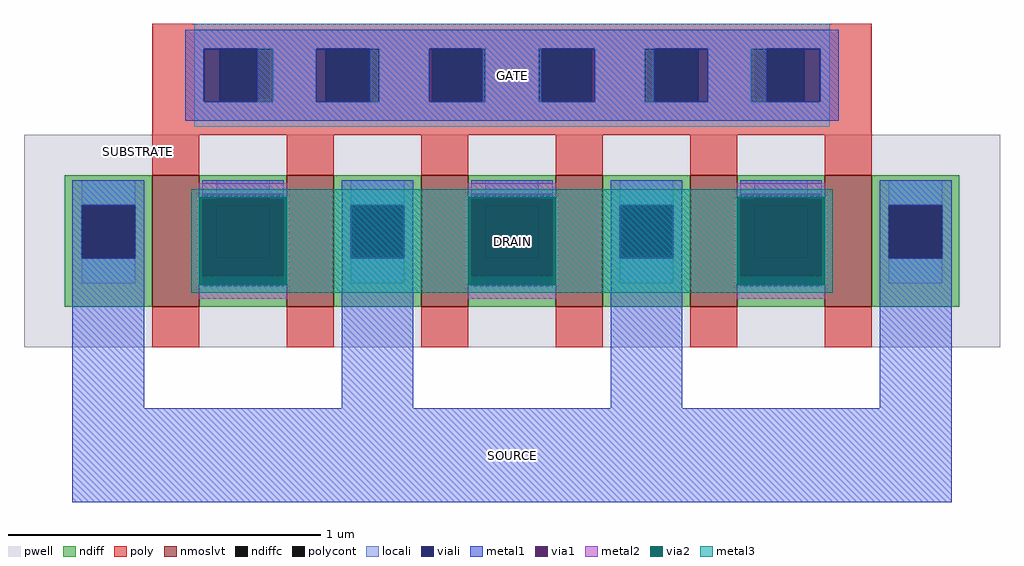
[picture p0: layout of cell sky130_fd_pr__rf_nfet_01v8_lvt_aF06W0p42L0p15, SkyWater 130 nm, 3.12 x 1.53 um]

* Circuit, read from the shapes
.subckt sky130_fd_pr__rf_nfet_01v8_lvt_aF06W0p42L0p15 DRAIN SOURCE GATE SUBSTRATE
XM1 DRAIN GATE SOURCE SUBSTRATE sky130_fd_pr__nfet_01v8_lvt w=0.42 l=0.15 m=6
.ends

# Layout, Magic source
magic
tech sky130A
magscale 1 2
<< pwell >>
rect 10 10 634 146
<< nmoslvt >>
rect 92 36 122 120
rect 178 36 208 120
rect 264 36 294 120
rect 350 36 380 120
rect 436 36 466 120
rect 522 36 552 120
<< ndiff >>
rect 36 101 92 120
rect 36 67 47 101
rect 81 67 92 101
rect 36 36 92 67
rect 122 101 178 120
rect 122 67 133 101
rect 167 67 178 101
rect 122 36 178 67
rect 208 101 264 120
rect 208 67 219 101
rect 253 67 264 101
rect 208 36 264 67
rect 294 101 350 120
rect 294 67 305 101
rect 339 67 350 101
rect 294 36 350 67
rect 380 101 436 120
rect 380 67 391 101
rect 425 67 436 101
rect 380 36 436 67
rect 466 101 522 120
rect 466 67 477 101
rect 511 67 522 101
rect 466 36 522 67
rect 552 101 608 120
rect 552 67 563 101
rect 597 67 608 101
rect 552 36 608 67
<< ndiffc >>
rect 47 67 81 101
rect 133 67 167 101
rect 219 67 253 101
rect 305 67 339 101
rect 391 67 425 101
rect 477 67 511 101
rect 563 67 597 101
<< poly >>
rect 92 201 552 217
rect 92 167 135 201
rect 169 167 203 201
rect 237 167 271 201
rect 305 167 339 201
rect 373 167 407 201
rect 441 167 475 201
rect 509 167 552 201
rect 92 146 552 167
rect 92 120 122 146
rect 178 120 208 146
rect 264 120 294 146
rect 350 120 380 146
rect 436 120 466 146
rect 522 120 552 146
rect 92 10 122 36
rect 178 10 208 36
rect 264 10 294 36
rect 350 10 380 36
rect 436 10 466 36
rect 522 10 552 36
<< polycont >>
rect 135 167 169 201
rect 203 167 237 201
rect 271 167 305 201
rect 339 167 373 201
rect 407 167 441 201
rect 475 167 509 201
<< locali >>
rect 119 201 525 217
rect 119 167 125 201
rect 169 167 197 201
rect 237 167 269 201
rect 305 167 339 201
rect 375 167 407 201
rect 447 167 475 201
rect 519 167 525 201
rect 119 151 525 167
rect 47 101 81 117
rect 47 51 81 67
rect 133 101 167 117
rect 133 51 167 67
rect 219 101 253 117
rect 219 51 253 67
rect 305 101 339 117
rect 305 51 339 67
rect 391 101 425 117
rect 391 51 425 67
rect 477 101 511 117
rect 477 51 511 67
rect 563 101 597 117
rect 563 51 597 67
<< viali >>
rect 125 167 135 201
rect 135 167 159 201
rect 197 167 203 201
rect 203 167 231 201
rect 269 167 271 201
rect 271 167 303 201
rect 341 167 373 201
rect 373 167 375 201
rect 413 167 441 201
rect 441 167 447 201
rect 485 167 509 201
rect 509 167 519 201
rect 47 67 81 101
rect 133 67 167 101
rect 219 67 253 101
rect 305 67 339 101
rect 391 67 425 101
rect 477 67 511 101
rect 563 67 597 101
<< metal1 >>
rect 113 201 531 213
rect 113 167 125 201
rect 159 167 197 201
rect 231 167 269 201
rect 303 167 341 201
rect 375 167 413 201
rect 447 167 485 201
rect 519 167 531 201
rect 113 155 531 167
rect 41 101 87 117
rect 41 67 47 101
rect 81 67 87 101
rect 41 -29 87 67
rect 124 108 176 117
rect 124 49 176 56
rect 213 101 259 117
rect 213 67 219 101
rect 253 67 259 101
rect 213 -29 259 67
rect 296 108 348 117
rect 296 49 348 56
rect 385 101 431 117
rect 385 67 391 101
rect 425 67 431 101
rect 385 -29 431 67
rect 468 108 520 117
rect 468 49 520 56
rect 557 101 603 117
rect 557 67 563 101
rect 597 67 603 101
rect 557 -29 603 67
rect 41 -89 603 -29
<< via1 >>
rect 124 101 176 108
rect 124 67 133 101
rect 133 67 167 101
rect 167 67 176 101
rect 124 56 176 67
rect 296 101 348 108
rect 296 67 305 101
rect 305 67 339 101
rect 339 67 348 101
rect 296 56 348 67
rect 468 101 520 108
rect 468 67 477 101
rect 477 67 511 101
rect 511 67 520 101
rect 468 56 520 67
<< metal2 >>
rect 122 108 178 115
rect 122 106 124 108
rect 176 106 178 108
rect 122 41 178 50
rect 294 108 350 115
rect 294 106 296 108
rect 348 106 350 108
rect 294 41 350 50
rect 466 108 522 115
rect 466 106 468 108
rect 520 106 522 108
rect 466 41 522 50
<< via2 >>
rect 122 56 124 106
rect 124 56 176 106
rect 176 56 178 106
rect 122 50 178 56
rect 294 56 296 106
rect 296 56 348 106
rect 348 56 350 106
rect 294 50 350 56
rect 466 56 468 106
rect 468 56 520 106
rect 520 56 522 106
rect 466 50 522 56
<< metal3 >>
rect 117 106 527 111
rect 117 50 122 106
rect 178 50 294 106
rect 350 50 466 106
rect 522 50 527 106
rect 117 45 527 50
<< labels >>
flabel metal3 s 117 45 527 111 0 FreeSans 400 0 0 0 DRAIN
port 1 nsew
flabel metal1 s 41 -89 603 -29 0 FreeSans 400 0 0 0 SOURCE
port 2 nsew
flabel metal1 s 113 155 531 213 0 FreeSans 400 0 0 0 GATE
port 3 nsew
flabel pwell s 77 128 90 142 0 FreeSans 200 0 0 0 SUBSTRATE
port 4 nsew
<< properties >>
string GDS_FILE $PDKPATH/libs.ref/sky130_fd_pr/gds/sky130_fd_pr.gds
string GDS_END 5837486
string GDS_START 5829872
string path 1.600 2.925 1.600 -2.225 
<< end >>
